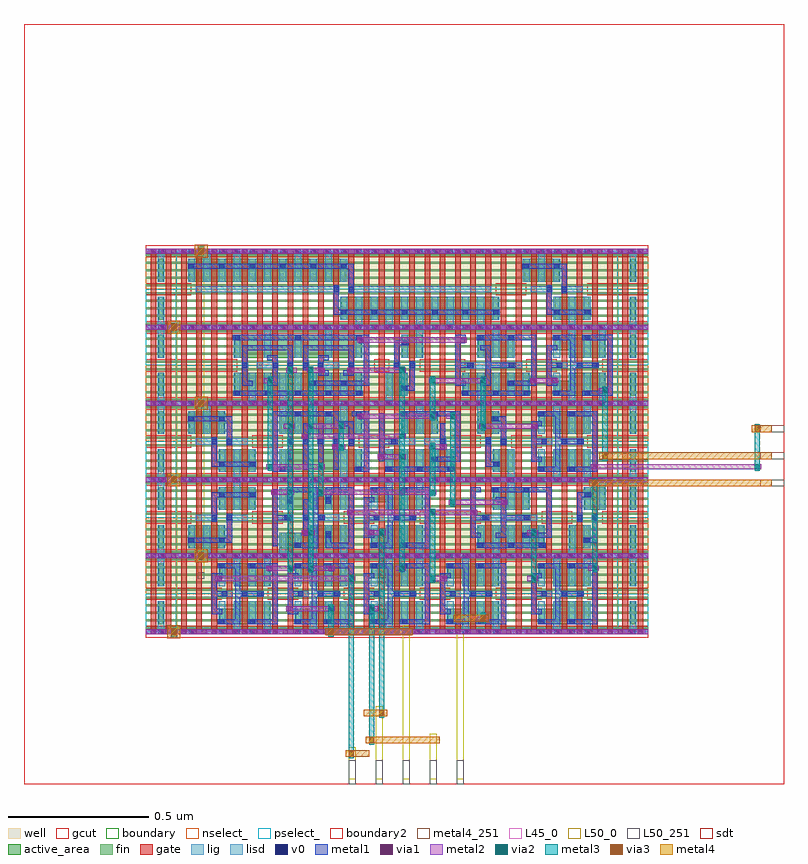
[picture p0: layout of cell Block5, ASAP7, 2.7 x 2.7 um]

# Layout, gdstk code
from math import pi, radians
import gdstk
lib = gdstk.Library(unit=1e-6, precision=2.5e-10)
def R(c, l, rs):  # rectangles x0, y0, x1, y1
    for r in rs: c.add(gdstk.rectangle(r[:2], r[2:], *l))
def A(c, l, x, y, w, h, nx, ny, dx, dy):  # array of equal rectangles
    R(c, l, [(x+i*dx, y+j*dy, x+i*dx+w, y+j*dy+h) for i in range(nx) for j in range(ny)])
def P(c, l, *ps):  # polygons
    for p in ps: c.add(gdstk.Polygon(p, *l))
well = (1, 0)
fin = (2, 0)
gate = (7, 0)
gcut = (10, 0)
active_area = (11, 0)
nselect_ = (12, 0)
pselect_ = (13, 0)
lig = (16, 0)
lisd = (17, 0)
v0 = (18, 0)
metal1 = (19, 0)
metal2 = (20, 0)
via1 = (21, 0)
via2 = (25, 0)
metal3 = (30, 0)
via3 = (35, 0)
metal4 = (40, 0)
metal4_251 = (40, 251)
L45_0 = (45, 0)
L50_0 = (50, 0)
L50_251 = (50, 251)
sdt = (88, 0)
boundary = (100, 0)
boundary2 = (235, 0)

via_via45 = lib.new_cell('VIA_VIA45')
R(via_via45, metal4, [(-0.023,-0.012,0.023,0.012)])
R(via_via45, L45_0, [(-0.012,-0.012,0.012,0.012)])
R(via_via45, L50_0, [(-0.012,-0.023,0.012,0.023)])

via_via23 = lib.new_cell('VIA_VIA23')
R(via_via23, metal2, [(-0.014,-0.009,0.014,0.009)])
R(via_via23, via2, [(-0.009,-0.009,0.009,0.009)])
R(via_via23, metal3, [(-0.009,-0.014,0.009,0.014)])

via_via1_2_1782_18_1_49_ = lib.new_cell('VIA_via1_2_1782_18_1_49_36_36')
R(via_via1_2_1782_18_1_49_, metal1, [(-0.873,-0.009,0.873,0.009)])
R(via_via1_2_1782_18_1_49_, metal2, [(-0.875,-0.009,0.875,0.009)])
A(via_via1_2_1782_18_1_49_, via1, -0.873, -0.009, 0.018, 0.018, 49, 1, 0.036, 0)

via_via12 = lib.new_cell('VIA_VIA12')
R(via_via12, metal1, [(-0.009,-0.011,0.009,0.011)])
R(via_via12, metal2, [(-0.014,-0.009,0.014,0.009)])
R(via_via12, via1, [(-0.009,-0.009,0.009,0.009)])

filler_asap7_75t_r = lib.new_cell('FILLER_ASAP7_75t_R')
R(filler_asap7_75t_r, well, [(0,0.135,0.108,0.27)])
A(filler_asap7_75t_r, fin, 0, 0.01, 0.108, 0.007, 1, 10, 0, 0.027)
R(filler_asap7_75t_r, gate, [(0.017,-0.005,0.037,0.275), (0.071,-0.005,0.091,0.275)])
A(filler_asap7_75t_r, gcut, 0, -0.022, 0.108, 0.044, 1, 3, 0, 0.135)
R(filler_asap7_75t_r, nselect_, [(0,0,0.108,0.135)])
R(filler_asap7_75t_r, pselect_, [(0,0.135,0.108,0.27)])
R(filler_asap7_75t_r, lig, [(0,-0.008,0.108,0.008), (0,0.262,0.108,0.278)])
R(filler_asap7_75t_r, v0, [(0.045,-0.009,0.063,0.009), (0.045,0.261,0.063,0.279)])
R(filler_asap7_75t_r, metal1, [(0,-0.009,0.108,0.009), (0,0.261,0.108,0.279)])
R(filler_asap7_75t_r, boundary, [(0,0,0.108,0.27)])

decapx2_asap7_75t_r = lib.new_cell('DECAPx2_ASAP7_75t_R')
R(decapx2_asap7_75t_r, well, [(0,0.135,0.324,0.27)])
A(decapx2_asap7_75t_r, fin, 0, 0.01, 0.324, 0.007, 1, 10, 0, 0.027)
A(decapx2_asap7_75t_r, gate, 0.017, -0.005, 0.02, 0.28, 6, 1, 0.054, 0)
R(decapx2_asap7_75t_r, gcut, [(0,-0.022,0.324,0.022), (0,0.113,0.054,0.157), (0.27,0.113,0.324,0.157), (0,0.248,0.324,0.292)])
R(decapx2_asap7_75t_r, active_area, [(0.154,0.027,0.278,0.108), (0.046,0.162,0.17,0.243)])
R(decapx2_asap7_75t_r, nselect_, [(0,0,0.324,0.135)])
R(decapx2_asap7_75t_r, pselect_, [(0,0.135,0.324,0.27)])
R(decapx2_asap7_75t_r, lig, [(0,-0.008,0.324,0.008), (0.07,0.124,0.146,0.146), (0.178,0.124,0.254,0.146), (0,0.262,0.324,0.278)])
R(decapx2_asap7_75t_r, lisd, [(0.204,0,0.228,0.108), (0.15,0.027,0.174,0.108), (0.258,0.027,0.282,0.108), (0.042,0.162,0.066,0.243), (0.096,0.162,0.12,0.27), (0.15,0.162,0.174,0.243)])
A(decapx2_asap7_75t_r, v0, 0.045, -0.009, 0.018, 0.018, 5, 2, 0.054, 0.27)
R(decapx2_asap7_75t_r, v0, [(0.153,0.045,0.171,0.063), (0.261,0.045,0.279,0.063), (0.126,0.126,0.144,0.144), (0.18,0.126,0.198,0.144), (0.045,0.207,0.063,0.225), (0.153,0.207,0.171,0.225)])
R(decapx2_asap7_75t_r, metal1, [(0,-0.009,0.324,0.009), (0,0.261,0.324,0.279)])
P(decapx2_asap7_75t_r, metal1, [(0.126,0.045),(0.126,0.15),(0.144,0.15),(0.144,0.063),(0.284,0.063),(0.284,0.045)],
  [(0.18,0.121),(0.18,0.207),(0.04,0.207),(0.04,0.225),(0.198,0.225),(0.198,0.121)])
A(decapx2_asap7_75t_r, sdt, 0.15, 0.027, 0.024, 0.081, 3, 1, 0.054, 0)
A(decapx2_asap7_75t_r, sdt, 0.042, 0.162, 0.024, 0.081, 3, 1, 0.054, 0)
R(decapx2_asap7_75t_r, boundary, [(0,0,0.324,0.27)])

decapx1_asap7_75t_r = lib.new_cell('DECAPx1_ASAP7_75t_R')
R(decapx1_asap7_75t_r, well, [(0,0.135,0.216,0.27)])
A(decapx1_asap7_75t_r, fin, 0, 0.01, 0.216, 0.007, 1, 10, 0, 0.027)
A(decapx1_asap7_75t_r, gate, 0.017, -0.005, 0.02, 0.28, 4, 1, 0.054, 0)
R(decapx1_asap7_75t_r, gcut, [(0,-0.022,0.216,0.022), (0,0.113,0.054,0.157), (0.162,0.113,0.216,0.157), (0,0.248,0.216,0.292)])
R(decapx1_asap7_75t_r, active_area, [(0.1,0.027,0.17,0.108), (0.046,0.162,0.116,0.243)])
R(decapx1_asap7_75t_r, nselect_, [(0,0,0.216,0.135)])
R(decapx1_asap7_75t_r, pselect_, [(0,0.135,0.216,0.27)])
R(decapx1_asap7_75t_r, lig, [(0,-0.008,0.216,0.008), (0.07,0.124,0.092,0.146), (0.124,0.124,0.146,0.146), (0,0.262,0.216,0.278)])
R(decapx1_asap7_75t_r, lisd, [(0.15,0,0.174,0.108), (0.096,0.027,0.12,0.108), (0.042,0.162,0.066,0.27), (0.096,0.162,0.12,0.243)])
A(decapx1_asap7_75t_r, v0, 0.045, -0.009, 0.018, 0.018, 3, 2, 0.054, 0.27)
R(decapx1_asap7_75t_r, v0, [(0.099,0.045,0.117,0.063), (0.072,0.126,0.09,0.144), (0.126,0.126,0.144,0.144), (0.099,0.207,0.117,0.225)])
R(decapx1_asap7_75t_r, metal1, [(0,-0.009,0.216,0.009), (0,0.261,0.216,0.279)])
P(decapx1_asap7_75t_r, metal1, [(0.126,0.121),(0.126,0.207),(0.094,0.207),(0.094,0.225),(0.144,0.225),(0.144,0.121)],
  [(0.072,0.045),(0.072,0.15),(0.09,0.15),(0.09,0.063),(0.122,0.063),(0.122,0.045)])
R(decapx1_asap7_75t_r, sdt, [(0.096,0.027,0.12,0.108), (0.15,0.027,0.174,0.108), (0.042,0.162,0.066,0.243), (0.096,0.162,0.12,0.243)])
R(decapx1_asap7_75t_r, boundary, [(0,0,0.216,0.27)])

decapx10_asap7_75t_r = lib.new_cell('DECAPx10_ASAP7_75t_R')
R(decapx10_asap7_75t_r, well, [(0,0.135,1.188,0.27)])
A(decapx10_asap7_75t_r, fin, 0, 0.01, 1.188, 0.007, 1, 10, 0, 0.027)
A(decapx10_asap7_75t_r, gate, 0.017, -0.005, 0.02, 0.28, 22, 1, 0.054, 0)
R(decapx10_asap7_75t_r, gcut, [(0,-0.022,1.188,0.022), (0,0.113,0.054,0.157), (1.134,0.113,1.188,0.157), (0,0.248,1.188,0.292)])
R(decapx10_asap7_75t_r, active_area, [(0.586,0.027,1.142,0.108), (0.046,0.162,0.602,0.243)])
R(decapx10_asap7_75t_r, nselect_, [(0,0,1.188,0.135)])
R(decapx10_asap7_75t_r, pselect_, [(0,0.135,1.188,0.27)])
R(decapx10_asap7_75t_r, lig, [(0,-0.008,1.188,0.008), (0.07,0.124,0.578,0.146), (0.61,0.124,1.118,0.146), (0,0.262,1.188,0.278)])
A(decapx10_asap7_75t_r, lisd, 0.636, 0, 0.024, 0.108, 5, 1, 0.108, 0)
A(decapx10_asap7_75t_r, lisd, 0.582, 0.027, 0.024, 0.081, 6, 1, 0.108, 0)
A(decapx10_asap7_75t_r, lisd, 0.042, 0.162, 0.024, 0.081, 6, 1, 0.108, 0)
A(decapx10_asap7_75t_r, lisd, 0.096, 0.162, 0.024, 0.108, 5, 1, 0.108, 0)
A(decapx10_asap7_75t_r, v0, 0.045, -0.009, 0.018, 0.018, 21, 2, 0.054, 0.27)
A(decapx10_asap7_75t_r, v0, 0.585, 0.045, 0.018, 0.018, 6, 1, 0.108, 0)
A(decapx10_asap7_75t_r, v0, 0.045, 0.207, 0.018, 0.018, 6, 1, 0.108, 0)
R(decapx10_asap7_75t_r, v0, [(0.558,0.126,0.576,0.144), (0.612,0.126,0.63,0.144)])
R(decapx10_asap7_75t_r, metal1, [(0,-0.009,1.188,0.009), (0,0.261,1.188,0.279)])
P(decapx10_asap7_75t_r, metal1, [(0.558,0.045),(0.558,0.15),(0.576,0.15),(0.576,0.063),(1.148,0.063),(1.148,0.045)],
  [(0.612,0.121),(0.612,0.207),(0.04,0.207),(0.04,0.225),(0.63,0.225),(0.63,0.121)])
A(decapx10_asap7_75t_r, sdt, 0.582, 0.027, 0.024, 0.081, 11, 1, 0.054, 0)
A(decapx10_asap7_75t_r, sdt, 0.042, 0.162, 0.024, 0.081, 11, 1, 0.054, 0)
R(decapx10_asap7_75t_r, boundary, [(0,0,1.188,0.27)])

tapcell_asap7_75t_r = lib.new_cell('TAPCELL_ASAP7_75t_R')
R(tapcell_asap7_75t_r, well, [(0,0.135,0.108,0.27)])
A(tapcell_asap7_75t_r, fin, 0, 0.01, 0.108, 0.007, 1, 10, 0, 0.027)
R(tapcell_asap7_75t_r, gate, [(0.017,-0.005,0.037,0.275), (0.071,-0.005,0.091,0.275)])
A(tapcell_asap7_75t_r, gcut, 0, -0.022, 0.108, 0.044, 1, 3, 0, 0.135)
R(tapcell_asap7_75t_r, active_area, [(0.046,0.027,0.062,0.108), (0.046,0.162,0.062,0.243)])
R(tapcell_asap7_75t_r, nselect_, [(0,0.135,0.108,0.27)])
R(tapcell_asap7_75t_r, pselect_, [(0,0,0.108,0.135)])
R(tapcell_asap7_75t_r, lig, [(0,-0.008,0.108,0.008), (0,0.262,0.108,0.278)])
R(tapcell_asap7_75t_r, lisd, [(0.042,0,0.066,0.108), (0.042,0.162,0.066,0.27)])
R(tapcell_asap7_75t_r, v0, [(0.045,-0.009,0.063,0.009), (0.045,0.261,0.063,0.279)])
R(tapcell_asap7_75t_r, metal1, [(0,-0.009,0.108,0.009), (0,0.261,0.108,0.279)])
R(tapcell_asap7_75t_r, sdt, [(0.042,0.027,0.066,0.108), (0.042,0.162,0.066,0.243)])
R(tapcell_asap7_75t_r, boundary, [(0,0,0.108,0.27)])

bufx2_asap7_75t_r = lib.new_cell('BUFx2_ASAP7_75t_R')
R(bufx2_asap7_75t_r, well, [(0,0.135,0.27,0.27)])
A(bufx2_asap7_75t_r, fin, 0, 0.01, 0.27, 0.007, 1, 10, 0, 0.027)
A(bufx2_asap7_75t_r, gate, 0.017, -0.005, 0.02, 0.2805, 5, 1, 0.054, 0)
R(bufx2_asap7_75t_r, gcut, [(0,-0.022,0.27,0.022), (0,0.113,0.054,0.157), (0.216,0.113,0.27,0.157), (0,0.248,0.27,0.292)])
P(bufx2_asap7_75t_r, active_area, [(0.046,0.027),(0.046,0.081),(0.096,0.081),(0.096,0.108),(0.224,0.108),(0.224,0.027)],
  [(0.096,0.162),(0.096,0.189),(0.046,0.189),(0.046,0.243),(0.224,0.243),(0.224,0.162)])
R(bufx2_asap7_75t_r, nselect_, [(0,0,0.27,0.135)])
R(bufx2_asap7_75t_r, pselect_, [(0,0.135,0.27,0.27)])
R(bufx2_asap7_75t_r, lig, [(0,-0.008,0.27,0.008), (0.054,0.124,0.092,0.146), (0.124,0.124,0.146,0.146), (0.178,0.124,0.2,0.146), (0,0.262,0.27,0.278)])
R(bufx2_asap7_75t_r, lisd, [(0.096,0,0.12,0.108), (0.204,0,0.228,0.108), (0.042,0.027,0.066,0.108), (0.15,0.027,0.174,0.108), (0.042,0.162,0.066,0.243), (0.096,0.162,0.12,0.27), (0.15,0.162,0.174,0.243), (0.204,0.162,0.228,0.27)])
A(bufx2_asap7_75t_r, v0, 0.045, -0.009, 0.018, 0.018, 4, 2, 0.054, 0.27)
R(bufx2_asap7_75t_r, v0, [(0.045,0.027,0.063,0.045), (0.153,0.027,0.171,0.045), (0.055,0.126,0.073,0.144), (0.126,0.126,0.144,0.144), (0.18,0.126,0.198,0.144), (0.045,0.225,0.063,0.243), (0.153,0.225,0.171,0.243)])
R(bufx2_asap7_75t_r, metal1, [(0,-0.009,0.27,0.009), (0,0.261,0.27,0.279)])
P(bufx2_asap7_75t_r, metal1, [(0.145,0.027),(0.145,0.045),(0.234,0.045),(0.234,0.225),(0.145,0.225),(0.145,0.243),(0.252,0.243),(0.252,0.027)],
  [(0.04,0.027),(0.04,0.045),(0.102,0.045),(0.102,0.225),(0.04,0.225),(0.04,0.243),(0.12,0.243),(0.12,0.144),(0.203,0.144),(0.203,0.126),(0.12,0.126),(0.12,0.027)],
  [(0.018,0.063),(0.018,0.207),(0.055,0.207),(0.055,0.189),(0.036,0.189),(0.036,0.144),(0.073,0.144),(0.073,0.126),(0.036,0.126),(0.036,0.081),(0.055,0.081),(0.055,0.063)])
A(bufx2_asap7_75t_r, sdt, 0.042, 0.027, 0.024, 0.081, 4, 2, 0.054, 0.135)
R(bufx2_asap7_75t_r, boundary, [(0,0,0.27,0.27)])

and2x2_asap7_75t_r = lib.new_cell('AND2x2_ASAP7_75t_R')
R(and2x2_asap7_75t_r, well, [(0,0.135,0.324,0.27)])
A(and2x2_asap7_75t_r, fin, 0, 0.01, 0.324, 0.007, 1, 10, 0, 0.027)
A(and2x2_asap7_75t_r, gate, 0.017, -0.005, 0.02, 0.28, 6, 1, 0.054, 0)
R(and2x2_asap7_75t_r, gcut, [(0,-0.022,0.324,0.022), (0,0.113,0.054,0.157), (0.27,0.113,0.324,0.157), (0,0.248,0.324,0.292)])
R(and2x2_asap7_75t_r, active_area, [(0.046,0.027,0.278,0.108)])
P(and2x2_asap7_75t_r, active_area, [(0.154,0.162),(0.154,0.189),(0.046,0.189),(0.046,0.243),(0.278,0.243),(0.278,0.162)])
R(and2x2_asap7_75t_r, nselect_, [(0,0,0.324,0.135)])
R(and2x2_asap7_75t_r, pselect_, [(0,0.135,0.324,0.27)])
R(and2x2_asap7_75t_r, lig, [(0,-0.008,0.324,0.008), (0.059,0.123,0.092,0.146), (0.178,0.123,0.254,0.146), (0.124,0.124,0.147,0.146), (0,0.262,0.324,0.278)])
R(and2x2_asap7_75t_r, lisd, [(0.15,0,0.174,0.108), (0.258,0,0.282,0.108), (0.042,0.027,0.091,0.108), (0.204,0.027,0.228,0.108), (0.15,0.162,0.174,0.27), (0.204,0.162,0.228,0.243), (0.258,0.162,0.282,0.27), (0.042,0.189,0.066,0.27), (0.096,0.189,0.12,0.243)])
A(and2x2_asap7_75t_r, v0, 0.045, -0.009, 0.018, 0.018, 5, 2, 0.054, 0.27)
R(and2x2_asap7_75t_r, v0, [(0.07,0.063,0.088,0.081), (0.207,0.063,0.225,0.081), (0.061,0.126,0.079,0.144), (0.126,0.126,0.144,0.144), (0.18,0.126,0.198,0.144), (0.207,0.189,0.225,0.207), (0.099,0.225,0.117,0.243)])
R(and2x2_asap7_75t_r, metal1, [(0,-0.009,0.324,0.009), (0.126,0.07,0.144,0.2), (0,0.261,0.324,0.279)])
P(and2x2_asap7_75t_r, metal1, [(0.207,0.027),(0.207,0.086),(0.225,0.086),(0.225,0.045),(0.288,0.045),(0.288,0.225),(0.225,0.225),(0.225,0.184),(0.207,0.184),(0.207,0.243),(0.306,0.243),(0.306,0.027)],
  [(0.07,0.027),(0.07,0.086),(0.088,0.086),(0.088,0.045),(0.162,0.045),(0.162,0.225),(0.094,0.225),(0.094,0.243),(0.18,0.243),(0.18,0.144),(0.203,0.144),(0.203,0.126),(0.18,0.126),(0.18,0.027)],
  [(0.018,0.034),(0.018,0.236),(0.036,0.236),(0.036,0.144),(0.084,0.144),(0.084,0.126),(0.036,0.126),(0.036,0.034)])
A(and2x2_asap7_75t_r, sdt, 0.15, 0.027, 0.024, 0.081, 3, 2, 0.054, 0.135)
R(and2x2_asap7_75t_r, sdt, [(0.042,0.027,0.066,0.108), (0.042,0.189,0.066,0.243), (0.096,0.189,0.12,0.243)])
R(and2x2_asap7_75t_r, boundary, [(0,0,0.324,0.27)])

nor2x1_asap7_75t_r = lib.new_cell('NOR2x1_ASAP7_75t_R')
R(nor2x1_asap7_75t_r, well, [(0,0.135,0.324,0.27)])
A(nor2x1_asap7_75t_r, fin, 0, 0.01, 0.324, 0.007, 1, 10, 0, 0.027)
A(nor2x1_asap7_75t_r, gate, 0.017, -0.005, 0.02, 0.28, 6, 1, 0.054, 0)
R(nor2x1_asap7_75t_r, gcut, [(0,-0.022,0.324,0.022), (0,0.113,0.054,0.157), (0.27,0.113,0.324,0.157), (0,0.248,0.324,0.292)])
R(nor2x1_asap7_75t_r, active_area, [(0.1,0.027,0.224,0.108), (0.046,0.162,0.278,0.243)])
R(nor2x1_asap7_75t_r, nselect_, [(0,0,0.324,0.135)])
R(nor2x1_asap7_75t_r, pselect_, [(0,0.135,0.324,0.27)])
R(nor2x1_asap7_75t_r, lig, [(0,-0.008,0.324,0.008), (0.059,0.124,0.146,0.147), (0.177,0.124,0.255,0.146), (0,0.262,0.324,0.278)])
A(nor2x1_asap7_75t_r, lisd, 0.15, 0.162, 0.024, 0.081, 3, 1, 0.054, 0)
R(nor2x1_asap7_75t_r, lisd, [(0.15,0,0.174,0.108), (0.096,0.027,0.12,0.108), (0.204,0.027,0.228,0.108), (0.042,0.162,0.066,0.243), (0.096,0.162,0.12,0.27)])
A(nor2x1_asap7_75t_r, v0, 0.045, -0.009, 0.018, 0.018, 5, 2, 0.054, 0.27)
A(nor2x1_asap7_75t_r, v0, 0.045, 0.225, 0.018, 0.018, 3, 1, 0.108, 0)
R(nor2x1_asap7_75t_r, v0, [(0.099,0.027,0.117,0.045), (0.207,0.027,0.225,0.045), (0.061,0.126,0.079,0.144), (0.207,0.126,0.225,0.144), (0.207,0.189,0.225,0.207)])
R(nor2x1_asap7_75t_r, metal1, [(0,-0.009,0.324,0.009), (0.04,0.225,0.284,0.243), (0,0.261,0.324,0.279)])
P(nor2x1_asap7_75t_r, metal1, [(0.018,0.027),(0.018,0.207),(0.055,0.207),(0.055,0.189),(0.036,0.189),(0.036,0.144),(0.084,0.144),(0.084,0.126),(0.036,0.126),(0.036,0.045),(0.055,0.045),(0.055,0.027)],
  [(0.107,0.063),(0.107,0.081),(0.126,0.081),(0.126,0.189),(0.107,0.189),(0.107,0.207),(0.144,0.207),(0.144,0.144),(0.23,0.144),(0.23,0.126),(0.144,0.126),(0.144,0.063)],
  [(0.094,0.027),(0.094,0.045),(0.288,0.045),(0.288,0.189),(0.202,0.189),(0.202,0.207),(0.306,0.207),(0.306,0.027)])
A(nor2x1_asap7_75t_r, sdt, 0.096, 0.027, 0.024, 0.081, 3, 1, 0.054, 0)
A(nor2x1_asap7_75t_r, sdt, 0.042, 0.162, 0.024, 0.081, 5, 1, 0.054, 0)
R(nor2x1_asap7_75t_r, boundary, [(0,0,0.324,0.27)])

nand2x1_asap7_75t_r = lib.new_cell('NAND2x1_ASAP7_75t_R')
R(nand2x1_asap7_75t_r, well, [(0,0.135,0.324,0.27)])
A(nand2x1_asap7_75t_r, fin, 0, 0.01, 0.324, 0.007, 1, 10, 0, 0.027)
A(nand2x1_asap7_75t_r, gate, 0.017, -0.005, 0.02, 0.28, 6, 1, 0.054, 0)
R(nand2x1_asap7_75t_r, gcut, [(0,-0.022,0.324,0.022), (0,0.113,0.054,0.157), (0.27,0.113,0.324,0.157), (0,0.248,0.324,0.292)])
R(nand2x1_asap7_75t_r, active_area, [(0.046,0.027,0.278,0.108), (0.1,0.162,0.224,0.243)])
R(nand2x1_asap7_75t_r, nselect_, [(0,0,0.324,0.135)])
R(nand2x1_asap7_75t_r, pselect_, [(0,0.135,0.324,0.27)])
R(nand2x1_asap7_75t_r, lig, [(0,-0.008,0.324,0.008), (0.059,0.123,0.146,0.146), (0.177,0.124,0.255,0.146), (0,0.262,0.324,0.278)])
A(nand2x1_asap7_75t_r, lisd, 0.15, 0.027, 0.024, 0.081, 3, 1, 0.054, 0)
R(nand2x1_asap7_75t_r, lisd, [(0.096,0,0.12,0.108), (0.042,0.027,0.066,0.108), (0.096,0.162,0.12,0.243), (0.15,0.162,0.174,0.27), (0.204,0.162,0.228,0.243)])
A(nand2x1_asap7_75t_r, v0, 0.045, -0.009, 0.018, 0.018, 5, 2, 0.054, 0.27)
A(nand2x1_asap7_75t_r, v0, 0.045, 0.027, 0.018, 0.018, 3, 1, 0.108, 0)
R(nand2x1_asap7_75t_r, v0, [(0.207,0.063,0.225,0.081), (0.061,0.126,0.079,0.144), (0.234,0.126,0.252,0.144), (0.099,0.225,0.117,0.243), (0.207,0.225,0.225,0.243)])
R(nand2x1_asap7_75t_r, metal1, [(0,-0.009,0.324,0.009), (0.04,0.027,0.284,0.045), (0.234,0.106,0.252,0.2), (0,0.261,0.324,0.279)])
P(nand2x1_asap7_75t_r, metal1, [(0.018,0.065),(0.018,0.236),(0.036,0.236),(0.036,0.144),(0.084,0.144),(0.084,0.126),(0.036,0.126),(0.036,0.065)],
  [(0.202,0.063),(0.202,0.081),(0.288,0.081),(0.288,0.225),(0.094,0.225),(0.094,0.243),(0.306,0.243),(0.306,0.063)])
A(nand2x1_asap7_75t_r, sdt, 0.042, 0.027, 0.024, 0.081, 5, 1, 0.054, 0)
A(nand2x1_asap7_75t_r, sdt, 0.096, 0.162, 0.024, 0.081, 3, 1, 0.054, 0)
R(nand2x1_asap7_75t_r, boundary, [(0,0,0.324,0.27)])

via_via34 = lib.new_cell('VIA_VIA34')
R(via_via34, metal3, [(-0.009,-0.017,0.009,0.017)])
R(via_via34, via3, [(-0.009,-0.012,0.009,0.012)])
R(via_via34, metal4, [(-0.02,-0.012,0.02,0.012)])

fillerxp5_asap7_75t_r = lib.new_cell('FILLERxp5_ASAP7_75t_R')
R(fillerxp5_asap7_75t_r, well, [(0,0.135,0.054,0.27)])
A(fillerxp5_asap7_75t_r, fin, 0, 0.01, 0.054, 0.007, 1, 10, 0, 0.027)
R(fillerxp5_asap7_75t_r, gate, [(0.017,-0.005,0.037,0.275)])
A(fillerxp5_asap7_75t_r, gcut, 0, -0.022, 0.054, 0.044, 1, 3, 0, 0.135)
R(fillerxp5_asap7_75t_r, nselect_, [(0,0,0.054,0.135)])
R(fillerxp5_asap7_75t_r, pselect_, [(0,0.135,0.054,0.27)])
R(fillerxp5_asap7_75t_r, lig, [(0,-0.008,0.054,0.008), (0,0.262,0.054,0.278)])
R(fillerxp5_asap7_75t_r, metal1, [(0,-0.009,0.054,0.009), (0,0.261,0.054,0.279)])
R(fillerxp5_asap7_75t_r, boundary, [(0,0,0.054,0.27)])

aoi22x1_asap7_75t_r = lib.new_cell('AOI22x1_ASAP7_75t_R')
R(aoi22x1_asap7_75t_r, well, [(0,0.135,0.54,0.27)])
A(aoi22x1_asap7_75t_r, fin, 0, 0.01, 0.54, 0.007, 1, 10, 0, 0.027)
A(aoi22x1_asap7_75t_r, gate, 0.017, -0.0055, 0.02, 0.279, 10, 1, 0.054, 0)
R(aoi22x1_asap7_75t_r, gcut, [(0,-0.022,0.54,0.022), (0,0.113,0.054,0.157), (0,0.248,0.54,0.292)])
R(aoi22x1_asap7_75t_r, active_area, [(0.046,0.027,0.494,0.108), (0.046,0.162,0.494,0.243)])
R(aoi22x1_asap7_75t_r, nselect_, [(0,0,0.54,0.135)])
R(aoi22x1_asap7_75t_r, pselect_, [(0,0.135,0.54,0.27)])
R(aoi22x1_asap7_75t_r, lig, [(0,-0.008,0.54,0.008), (0.07,0.124,0.093,0.146), (0.124,0.124,0.2,0.146), (0.232,0.124,0.254,0.146), (0.286,0.124,0.309,0.146), (0.34,0.124,0.417,0.146), (0.448,0.124,0.47,0.146), (0,0.262,0.54,0.278)])
A(aoi22x1_asap7_75t_r, lisd, 0.042, 0.027, 0.024, 0.081, 3, 1, 0.216, 0)
A(aoi22x1_asap7_75t_r, lisd, 0.042, 0.162, 0.024, 0.081, 3, 1, 0.108, 0)
A(aoi22x1_asap7_75t_r, lisd, 0.312, 0.162, 0.024, 0.081, 4, 1, 0.054, 0)
R(aoi22x1_asap7_75t_r, lisd, [(0.15,0,0.174,0.108), (0.366,0,0.39,0.108), (0.096,0.162,0.12,0.27), (0.204,0.162,0.228,0.27)])
A(aoi22x1_asap7_75t_r, v0, 0.045, -0.009, 0.018, 0.018, 9, 2, 0.054, 0.27)
A(aoi22x1_asap7_75t_r, v0, 0.045, 0.027, 0.018, 0.018, 3, 1, 0.216, 0)
A(aoi22x1_asap7_75t_r, v0, 0.18, 0.126, 0.018, 0.018, 4, 1, 0.054, 0)
A(aoi22x1_asap7_75t_r, v0, 0.045, 0.225, 0.018, 0.018, 5, 1, 0.108, 0)
R(aoi22x1_asap7_75t_r, v0, [(0.072,0.126,0.09,0.144), (0.45,0.126,0.468,0.144), (0.315,0.189,0.333,0.207), (0.423,0.189,0.441,0.207)])
R(aoi22x1_asap7_75t_r, metal1, [(0,-0.009,0.54,0.009), (0.04,0.225,0.5,0.243), (0,0.261,0.54,0.279)])
P(aoi22x1_asap7_75t_r, metal1, [(0.038,0.027),(0.038,0.045),(0.504,0.045),(0.504,0.189),(0.309,0.189),(0.309,0.207),(0.522,0.207),(0.522,0.027)],
  [(0.288,0.063),(0.288,0.152),(0.306,0.152),(0.306,0.081),(0.45,0.081),(0.45,0.153),(0.431,0.153),(0.431,0.171),(0.468,0.171),(0.468,0.063)],
  [(0.342,0.099),(0.342,0.171),(0.379,0.171),(0.379,0.153),(0.36,0.153),(0.36,0.117),(0.379,0.117),(0.379,0.099)],
  [(0.072,0.063),(0.072,0.207),(0.109,0.207),(0.109,0.189),(0.09,0.189),(0.09,0.081),(0.234,0.081),(0.234,0.154),(0.252,0.154),(0.252,0.063)],
  [(0.161,0.099),(0.161,0.117),(0.18,0.117),(0.18,0.189),(0.161,0.189),(0.161,0.207),(0.198,0.207),(0.198,0.099)])
A(aoi22x1_asap7_75t_r, sdt, 0.042, 0.027, 0.024, 0.081, 5, 1, 0.108, 0)
A(aoi22x1_asap7_75t_r, sdt, 0.042, 0.162, 0.024, 0.081, 9, 1, 0.054, 0)
R(aoi22x1_asap7_75t_r, boundary, [(0,0,0.54,0.27)])

and4x1_asap7_75t_r = lib.new_cell('AND4x1_ASAP7_75t_R')
R(and4x1_asap7_75t_r, well, [(0,0.135,0.378,0.27)])
A(and4x1_asap7_75t_r, fin, 0, 0.01, 0.378, 0.007, 1, 10, 0, 0.027)
A(and4x1_asap7_75t_r, gate, 0.017, -0.005, 0.02, 0.28, 4, 1, 0.054, 0)
A(and4x1_asap7_75t_r, gate, 0.233, -0.005, 0.02, 0.2805, 3, 1, 0.054, 0)
R(and4x1_asap7_75t_r, gcut, [(0,-0.022,0.378,0.022), (0,0.113,0.054,0.157), (0.324,0.113,0.378,0.157), (0,0.248,0.378,0.292)])
R(and4x1_asap7_75t_r, active_area, [(0.046,0.027,0.332,0.108), (0.046,0.162,0.332,0.243)])
R(and4x1_asap7_75t_r, nselect_, [(0,0,0.378,0.135)])
R(and4x1_asap7_75t_r, pselect_, [(0,0.135,0.378,0.27)])
R(and4x1_asap7_75t_r, lig, [(0,-0.008,0.378,0.008), (0.124,0.125,0.146,0.145), (0.069,0.126,0.093,0.144), (0.177,0.126,0.201,0.144), (0.232,0.126,0.254,0.144), (0.286,0.126,0.31,0.144), (0,0.262,0.378,0.278)])
A(and4x1_asap7_75t_r, lisd, 0.042, 0.162, 0.024, 0.108, 3, 1, 0.108, 0)
A(and4x1_asap7_75t_r, lisd, 0.096, 0.162, 0.024, 0.081, 3, 1, 0.108, 0)
R(and4x1_asap7_75t_r, lisd, [(0.258,0,0.282,0.108), (0.042,0.027,0.066,0.108), (0.312,0.027,0.336,0.108)])
A(and4x1_asap7_75t_r, v0, 0.045, -0.009, 0.018, 0.018, 6, 2, 0.054, 0.27)
A(and4x1_asap7_75t_r, v0, 0.072, 0.126, 0.018, 0.018, 5, 1, 0.054, 0)
A(and4x1_asap7_75t_r, v0, 0.099, 0.225, 0.018, 0.018, 3, 1, 0.108, 0)
R(and4x1_asap7_75t_r, v0, [(0.045,0.027,0.063,0.045), (0.315,0.027,0.333,0.045)])
R(and4x1_asap7_75t_r, metal1, [(0,-0.009,0.378,0.009), (0.126,0.034,0.144,0.2), (0.18,0.034,0.198,0.2), (0.234,0.034,0.252,0.164), (0.072,0.07,0.09,0.2), (0,0.261,0.378,0.279)])
P(and4x1_asap7_75t_r, metal1, [(0.018,0.027),(0.018,0.243),(0.252,0.243),(0.252,0.207),(0.306,0.207),(0.306,0.12),(0.288,0.12),(0.288,0.189),(0.234,0.189),(0.234,0.225),(0.036,0.225),(0.036,0.045),(0.085,0.045),(0.085,0.027)],
  [(0.31,0.027),(0.31,0.045),(0.342,0.045),(0.342,0.225),(0.299,0.225),(0.299,0.243),(0.36,0.243),(0.36,0.027)])
A(and4x1_asap7_75t_r, sdt, 0.042, 0.162, 0.024, 0.081, 5, 1, 0.054, 0)
R(and4x1_asap7_75t_r, sdt, [(0.042,0.027,0.066,0.108), (0.258,0.027,0.282,0.108), (0.258,0.027,0.282,0.108), (0.312,0.027,0.336,0.108), (0.258,0.162,0.282,0.243), (0.312,0.162,0.336,0.243)])
R(and4x1_asap7_75t_r, boundary, [(0,0,0.378,0.27)])

block5 = lib.new_cell('Block5')
A(block5, metal1, 0.432, 0.531, 1.782, 0.018, 1, 6, 0, 0.27)
A(block5, metal2, 0.432, 0.531, 1.782, 0.018, 1, 6, 0, 0.27)
R(block5, metal2, [(1.606,0.576,1.629,0.594), (0.936,0.612,1.098,0.63), (1.233,0.612,1.256,0.63), (0.684,0.72,1.17,0.738), (1.44,0.72,1.494,0.738), (1.786,0.72,1.809,0.738), (0.864,0.756,0.954,0.774), (1.008,0.756,1.098,0.774), (1.318,0.756,1.341,0.774), (2.002,0.756,2.025,0.774), (0.99,0.882,1.026,0.9), (1.224,0.882,1.278,0.9), (1.786,0.882,1.809,0.9), (1.152,0.954,1.602,0.972), (1.426,0.954,1.449,0.972), (1.512,0.99,1.71,1.008), (0.882,1.026,0.954,1.044), (1.044,1.026,1.35,1.044), (1.332,1.026,1.458,1.044), (0.864,1.116,1.062,1.134), (1.03,1.116,1.053,1.134), (2.016,1.116,2.61,1.134), (1.26,1.152,1.35,1.17), (1.098,1.188,1.134,1.206), (1.44,1.188,1.494,1.206), (0.99,1.224,1.35,1.242), (0.922,1.26,0.945,1.278), (1.008,1.26,1.134,1.278), (1.62,1.26,1.818,1.278), (1.188,1.296,1.458,1.314), (1.498,1.296,1.521,1.314), (2.038,1.386,2.061,1.404), (0.85,1.422,0.873,1.44), (1.44,1.422,1.638,1.44), (1.606,1.422,1.629,1.44), (1.8,1.422,1.89,1.44), (0.945,1.458,0.968,1.476), (1.008,1.458,1.062,1.476), (1.152,1.458,1.35,1.476), (1.188,1.566,1.566,1.584)])
R(block5, metal3, [(1.152,0.099,1.17,0.738), (1.224,0.147,1.242,0.63), (1.26,0.243,1.278,0.9), (1.08,0.531,1.098,0.63), (1.62,0.576,1.638,0.597), (1.62,0.588,1.638,0.608), (1.44,0.72,1.458,0.972), (1.8,0.72,1.818,0.9), (0.936,0.756,0.954,1.044), (1.008,0.756,1.026,0.9), (1.332,0.756,1.35,1.17), (2.016,0.756,2.034,1.077), (1.008,0.882,1.026,1.476), (1.512,0.99,1.53,1.314), (0.936,1.026,0.954,1.278), (1.044,1.026,1.062,1.134), (1.44,1.026,1.458,1.206), (0.864,1.116,0.882,1.44), (2.592,1.116,2.61,1.269), (1.332,1.152,1.35,1.476), (2.052,1.155,2.07,1.404), (1.116,1.188,1.134,1.278), (1.332,1.21,1.35,1.233), (1.008,1.246,1.026,1.269), (0.936,1.26,0.954,1.476), (1.62,1.26,1.638,1.44), (1.44,1.296,1.458,1.44)])
A(block5, metal4, 0.509, 0.517, 0.046, 0.046, 1, 3, 0, 0.54)
A(block5, metal4, 0.605, 0.787, 0.046, 0.046, 1, 3, 0, 0.54)
R(block5, metal4, [(1.149,0.096,1.176,0.12), (1.164,0.096,1.225,0.12), (1.221,0.144,1.464,0.168), (1.205,0.24,1.26,0.264), (1.248,0.24,1.281,0.264), (1.077,0.528,1.368,0.552), (1.536,0.576,1.641,0.6), (2.013,1.056,2.652,1.08), (2.049,1.152,2.652,1.176), (2.589,1.248,2.652,1.272)])
A(block5, metal4_251, 2.612, 1.056, 0.084, 0.024, 1, 3, 0, 0.096)
R(block5, L50_0, [(1.152,0.016,1.176,0.12), (1.248,0.016,1.272,0.264), (1.344,0.016,1.368,0.552), (1.44,0.016,1.464,0.168), (1.536,0.016,1.56,0.6), (0.52,0.517,0.544,1.643), (0.616,0.728,0.64,1.913)])
A(block5, L50_251, 1.152, 0, 0.024, 0.084, 5, 1, 0.096, 0)
R(block5, L50_251, [(0.52,0.517,0.544,0.541), (0.616,0.728,0.64,0.752), (0.52,1.619,0.544,1.643), (0.616,1.889,0.64,1.913)])
R(block5, boundary2, [(0,0,2.696,2.696)])
block5.add(gdstk.Reference(via_via45, (1.548,0.588)))
block5.add(gdstk.Reference(via_via23, (1.521,1.305)))
block5.add(gdstk.Reference(via_via23, (1.521,0.999)))
block5.add(gdstk.Reference(via_via1_2_1782_18_1_49_, (1.323,1.89)))
block5.add(gdstk.Reference(via_via1_2_1782_18_1_49_, (1.323,1.35)))
block5.add(gdstk.Reference(via_via1_2_1782_18_1_49_, (1.323,0.81)))
block5.add(gdstk.Reference(via_via1_2_1782_18_1_49_, (1.323,0.54)))
block5.add(gdstk.Reference(via_via1_2_1782_18_1_49_, (1.323,1.08)))
block5.add(gdstk.Reference(via_via1_2_1782_18_1_49_, (1.323,1.62)))
block5.add(gdstk.Reference(via_via12, (1.521,1.305)))
block5.add(gdstk.Reference(via_via12, (1.701,0.999)))
block5.add(gdstk.Reference(filler_asap7_75t_r, (1.458,1.08), x_reflection=True))
block5.add(gdstk.Reference(decapx2_asap7_75t_r, (0.54,1.08), x_reflection=True))
block5.add(gdstk.Reference(decapx1_asap7_75t_r, (1.89,1.08), x_reflection=True))
block5.add(gdstk.Reference(decapx10_asap7_75t_r, (0.54,1.62)))
block5.add(gdstk.Reference(tapcell_asap7_75t_r, (2.214,1.08), rotation=pi))
block5.add(gdstk.Reference(tapcell_asap7_75t_r, (0.432,1.08), x_reflection=True))
block5.add(gdstk.Reference(bufx2_asap7_75t_r, (1.458,0.54)))
block5.add(gdstk.Reference(bufx2_asap7_75t_r, (1.188,1.08), x_reflection=True))
block5.add(gdstk.Reference(and2x2_asap7_75t_r, (0.864,1.08), x_reflection=True))
block5.add(gdstk.Reference(nor2x1_asap7_75t_r, (1.512,1.62), x_reflection=True))
block5.add(gdstk.Reference(nor2x1_asap7_75t_r, (1.566,1.08), x_reflection=True))
block5.add(gdstk.Reference(nand2x1_asap7_75t_r, (1.242,1.08)))
block5.add(gdstk.Reference(via_via34, (2.061,1.164)))
block5.add(gdstk.Reference(via_via12, (1.557,1.575)))
block5.add(gdstk.Reference(via_via23, (2.601,1.125)))
block5.add(gdstk.Reference(fillerxp5_asap7_75t_r, (2.052,1.08)))
block5.add(gdstk.Reference(fillerxp5_asap7_75t_r, (2.052,1.62)))
block5.add(gdstk.Reference(decapx2_asap7_75t_r, (1.728,1.62)))
block5.add(gdstk.Reference(via_via23, (2.061,1.395)))
block5.add(gdstk.Reference(decapx1_asap7_75t_r, (1.566,1.08)))
block5.add(gdstk.Reference(via_via23, (1.629,1.431)))
block5.add(gdstk.Reference(via_via23, (1.629,1.269)))
block5.add(gdstk.Reference(via_via34, (2.601,1.26)))
block5.add(gdstk.Reference(tapcell_asap7_75t_r, (2.214,1.62), rotation=pi))
block5.add(gdstk.Reference(via_via12, (1.881,1.431)))
block5.add(gdstk.Reference(tapcell_asap7_75t_r, (2.214,1.08), rotation=pi, x_reflection=True))
block5.add(gdstk.Reference(tapcell_asap7_75t_r, (2.214,1.62), rotation=pi, x_reflection=True))
block5.add(gdstk.Reference(via_via12, (1.809,1.269)))
block5.add(gdstk.Reference(bufx2_asap7_75t_r, (1.782,1.08)))
block5.add(gdstk.Reference(via_via12, (1.809,1.431)))
block5.add(gdstk.Reference(bufx2_asap7_75t_r, (1.836,1.62), x_reflection=True))
block5.add(gdstk.Reference(via_via12, (1.629,1.431)))
block5.add(gdstk.Reference(via_via12, (2.061,1.395)))
block5.add(gdstk.Reference(via_via12, (2.025,1.125)))
block5.add(gdstk.Reference(via_via34, (2.025,1.068)))
block5.add(gdstk.Reference(via_via34, (0.628,1.89)))
block5.add(gdstk.Reference(via_via12, (1.107,1.197)))
block5.add(gdstk.Reference(via_via45, (0.532,1.08)))
block5.add(gdstk.Reference(via_via12, (1.053,1.467)))
block5.add(gdstk.Reference(via_via12, (1.197,1.305)))
block5.add(gdstk.Reference(via_via45, (0.532,1.62)))
block5.add(gdstk.Reference(via_via12, (0.999,1.233)))
block5.add(gdstk.Reference(via_via23, (1.449,1.305)))
block5.add(gdstk.Reference(via_via12, (1.161,1.467)))
block5.add(gdstk.Reference(via_via23, (1.449,1.431)))
block5.add(gdstk.Reference(via_via23, (0.945,1.269)))
block5.add(gdstk.Reference(via_via12, (0.891,1.035)))
block5.add(gdstk.Reference(via_via12, (1.485,1.197)))
block5.add(gdstk.Reference(via_via12, (0.945,1.467)))
block5.add(gdstk.Reference(via_via12, (0.945,1.269)))
block5.add(gdstk.Reference(via_via12, (1.053,1.125)))
block5.add(gdstk.Reference(via_via45, (0.628,1.35)))
block5.add(gdstk.Reference(via_via12, (1.341,1.035)))
block5.add(gdstk.Reference(via_via34, (0.628,1.35)))
block5.add(gdstk.Reference(via_via23, (0.532,1.08)))
block5.add(gdstk.Reference(via_via12, (1.197,1.575)))
block5.add(gdstk.Reference(via_via12, (0.873,1.431)))
block5.add(gdstk.Reference(via_via12, (1.269,1.161)))
block5.add(gdstk.Reference(filler_asap7_75t_r, (0.54,1.62), x_reflection=True))
block5.add(gdstk.Reference(via_via23, (0.532,1.62)))
block5.add(gdstk.Reference(via_via23, (0.628,1.35)))
block5.add(gdstk.Reference(via_via23, (0.628,1.89)))
block5.add(gdstk.Reference(fillerxp5_asap7_75t_r, (1.458,1.62), x_reflection=True))
block5.add(gdstk.Reference(fillerxp5_asap7_75t_r, (0.648,1.62), x_reflection=True))
block5.add(gdstk.Reference(decapx2_asap7_75t_r, (0.54,1.08)))
block5.add(gdstk.Reference(via_via23, (1.341,1.467)))
block5.add(gdstk.Reference(via_via23, (1.341,1.233)))
block5.add(gdstk.Reference(via_via23, (1.017,1.467)))
block5.add(gdstk.Reference(decapx1_asap7_75t_r, (1.242,1.62), x_reflection=True))
block5.add(gdstk.Reference(via_via23, (1.125,1.197)))
block5.add(gdstk.Reference(via_via23, (1.125,1.269)))
block5.add(gdstk.Reference(tapcell_asap7_75t_r, (0.432,1.08)))
block5.add(gdstk.Reference(tapcell_asap7_75t_r, (0.432,1.62)))
block5.add(gdstk.Reference(via_via23, (1.017,1.269)))
block5.add(gdstk.Reference(via_via23, (0.873,1.125)))
block5.add(gdstk.Reference(via_via23, (0.873,1.431)))
block5.add(gdstk.Reference(tapcell_asap7_75t_r, (0.432,1.62), x_reflection=True))
block5.add(gdstk.Reference(via_via23, (1.053,1.035)))
block5.add(gdstk.Reference(via_via23, (1.053,1.125)))
block5.add(gdstk.Reference(via_via23, (1.449,1.197)))
block5.add(gdstk.Reference(via_via23, (1.449,1.035)))
block5.add(gdstk.Reference(via_via34, (0.532,1.62)))
block5.add(gdstk.Reference(via_via34, (0.532,1.08)))
block5.add(gdstk.Reference(via_via23, (1.341,1.161)))
block5.add(gdstk.Reference(aoi22x1_asap7_75t_r, (0.702,1.62), x_reflection=True))
block5.add(gdstk.Reference(and4x1_asap7_75t_r, (0.864,1.08)))
block5.add(gdstk.Reference(via_via23, (0.945,1.467)))
block5.add(gdstk.Reference(via_via45, (0.628,1.89)))
block5.add(gdstk.Reference(via_via23, (0.945,1.035)))
block5.add(gdstk.Reference(via_via45, (1.26,0.252)))
block5.add(gdstk.Reference(via_via12, (0.945,0.621)))
block5.add(gdstk.Reference(via_via23, (0.628,0.81)))
block5.add(gdstk.Reference(filler_asap7_75t_r, (0.54,0.54)))
block5.add(gdstk.Reference(via_via45, (0.628,0.81)))
block5.add(gdstk.Reference(via_via12, (1.089,0.765)))
block5.add(gdstk.Reference(via_via12, (1.233,0.621)))
block5.add(gdstk.Reference(via_via12, (0.693,0.729)))
block5.add(gdstk.Reference(via_via45, (1.356,0.54)))
block5.add(gdstk.Reference(via_via23, (1.341,0.765)))
block5.add(gdstk.Reference(via_via34, (0.628,0.81)))
block5.add(gdstk.Reference(via_via23, (1.089,0.621)))
block5.add(gdstk.Reference(via_via23, (1.017,0.891)))
block5.add(gdstk.Reference(via_via23, (1.017,0.765)))
block5.add(gdstk.Reference(via_via12, (0.999,0.891)))
block5.add(gdstk.Reference(via_via45, (1.164,0.108)))
block5.add(gdstk.Reference(via_via34, (1.269,0.252)))
block5.add(gdstk.Reference(tapcell_asap7_75t_r, (0.432,0.54)))
block5.add(gdstk.Reference(via_via45, (0.532,0.54)))
block5.add(gdstk.Reference(via_via12, (0.873,0.765)))
block5.add(gdstk.Reference(via_via12, (1.485,0.729)))
block5.add(gdstk.Reference(via_via12, (1.161,0.963)))
block5.add(gdstk.Reference(via_via34, (0.532,0.54)))
block5.add(gdstk.Reference(via_via34, (1.089,0.54)))
block5.add(gdstk.Reference(via_via34, (1.161,0.108)))
block5.add(gdstk.Reference(via_via34, (1.233,0.156)))
block5.add(gdstk.Reference(bufx2_asap7_75t_r, (0.648,0.54)))
block5.add(gdstk.Reference(bufx2_asap7_75t_r, (1.188,0.54)))
block5.add(gdstk.Reference(bufx2_asap7_75t_r, (0.918,0.54)))
block5.add(gdstk.Reference(via_via23, (1.269,0.891)))
block5.add(gdstk.Reference(via_via12, (1.341,0.765)))
block5.add(gdstk.Reference(via_via23, (0.945,0.765)))
block5.add(gdstk.Reference(via_via23, (1.233,0.621)))
block5.add(gdstk.Reference(via_via23, (1.449,0.729)))
block5.add(gdstk.Reference(via_via23, (1.449,0.963)))
block5.add(gdstk.Reference(via_via23, (1.161,0.729)))
block5.add(gdstk.Reference(via_via23, (0.532,0.54)))
block5.add(gdstk.Reference(via_via45, (1.452,0.156)))
block5.add(gdstk.Reference(via_via12, (1.233,0.891)))
block5.add(gdstk.Reference(via_via12, (1.809,0.729)))
block5.add(gdstk.Reference(via_via23, (1.629,0.585)))
block5.add(gdstk.Reference(fillerxp5_asap7_75t_r, (1.728,0.54)))
block5.add(gdstk.Reference(via_via23, (1.809,0.729)))
block5.add(gdstk.Reference(bufx2_asap7_75t_r, (1.782,0.54)))
block5.add(gdstk.Reference(via_via12, (1.809,0.891)))
block5.add(gdstk.Reference(fillerxp5_asap7_75t_r, (2.052,0.54)))
block5.add(gdstk.Reference(via_via23, (2.025,0.765)))
block5.add(gdstk.Reference(via_via12, (1.629,0.585)))
block5.add(gdstk.Reference(via_via34, (1.629,0.588)))
block5.add(gdstk.Reference(via_via12, (2.025,0.765)))
block5.add(gdstk.Reference(tapcell_asap7_75t_r, (2.214,0.54), rotation=pi, x_reflection=True))
block5.add(gdstk.Reference(via_via12, (1.593,0.963)))
block5.add(gdstk.Reference(via_via23, (1.809,0.891)))

lib.write_gds('Block5.gds')
